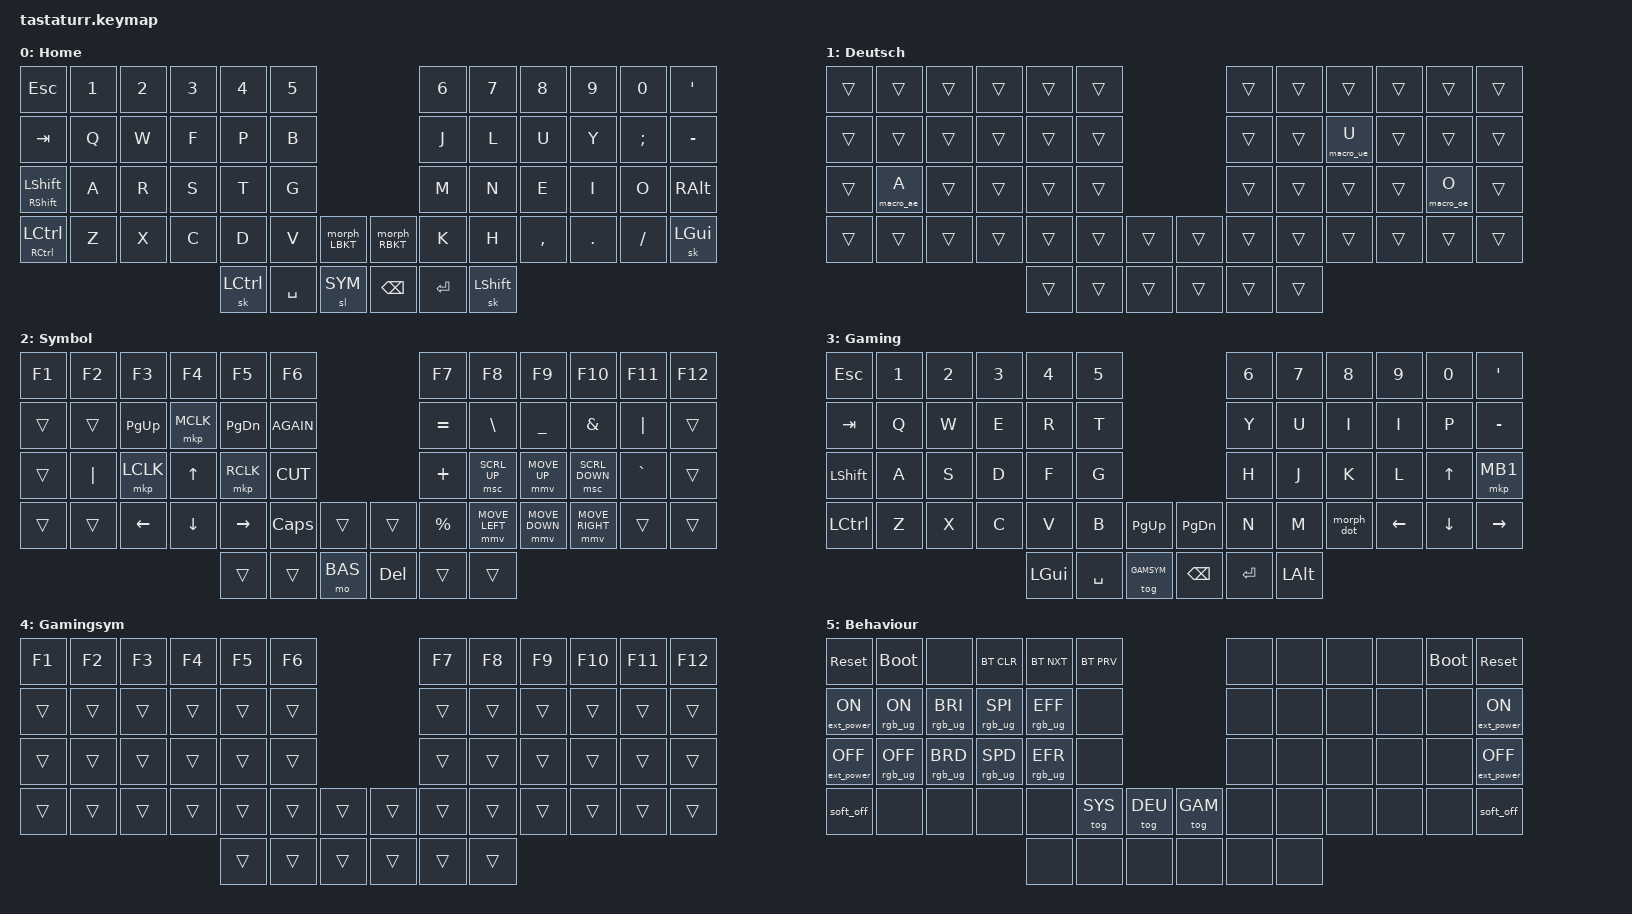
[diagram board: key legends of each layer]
#include <dt-bindings/zmk/mouse.h>
#include <behaviors.dtsi>
#include <dt-bindings/zmk/bt.h>
#include <dt-bindings/zmk/ext_power.h>
#include <dt-bindings/zmk/keys.h>
#include <dt-bindings/zmk/pointing.h>
#include <dt-bindings/zmk/rgb.h>

#define BAS 0
#define DEU 1
#define SYM 2
#define GAM 3
#define GAMSYM 4
#define SYS 5

&sk {
    release-after-ms = <2000>;
    quick-release;

    /delete-property/ ignore-modifiers;
};

&soft_off {
    hold-time-ms = <5000>; // Only turn off it the key is held for 5 seconds or longer.
};

/ {
    combos {
        compatible = "zmk,combos";

        combo_sys {
            timeout-ms = <50>;
            key-positions = <37 38 39 40>;
            bindings = <&tog SYS>;
        };

        combo_sys_right {
            bindings = <&tog 4>;
            key-positions = <45 46 47 48>;
        };
    };
};

/ {
    macros {
        macro_ae: macro_ae {
            compatible = "zmk,behavior-macro";
            #binding-cells = <0>;
            wait-ms = <10>;
            tap-ms = <20>;
            bindings = <&kp RALT &kp Q>;
        };

        macro_ue: macro_ue {
            compatible = "zmk,behavior-macro";
            #binding-cells = <0>;
            wait-ms = <10>;
            tap-ms = <20>;
            bindings = <&kp RALT &kp Y>;
        };

        macro_oe: macro_oe {
            compatible = "zmk,behavior-macro";
            #binding-cells = <0>;
            wait-ms = <10>;
            tap-ms = <20>;
            bindings = <&kp RALT &kp P>;
        };

        macro_wdf: macro_wdf {
            compatible = "zmk,behavior-macro";
            #binding-cells = <0>;
            wait-ms = <10>;
            tap-ms = <20>;
            bindings = <&kp DELETE &kp LEFT_CONTROL>;
        };

        macro_wdr: macro_wdr {
            compatible = "zmk,behavior-macro";
            #binding-cells = <0>;
            wait-ms = <10>;
            tap-ms = <20>;
            bindings = <&kp BACKSPACE &kp LEFT_CONTROL>;
        };
    };

    behaviors {
        morph_LBKTT: morph_LBKTT {
            compatible = "zmk,behavior-mod-morph";
            #binding-cells = <0>;
            bindings = <&kp LPAR>, <&kp LT>;

            mods = <(MOD_LALT|MOD_RALT)>;
        };

        morph_LBKT: morph_LBKT {
            compatible = "zmk,behavior-mod-morph";
            #binding-cells = <0>;
            bindings = <&kp LBKT>, <&morph_LBKTT>;

            mods = <(MOD_LCTL |MOD_RCTL)>;
        };

        morph_RBKTT: morph_RBKTT {
            compatible = "zmk,behavior-mod-morph";
            #binding-cells = <0>;
            bindings = <&kp RPAR>, <&kp GT>;

            mods = <(MOD_LALT|MOD_RALT)>;
        };

        morph_RBKT: morph_RBKT {
            compatible = "zmk,behavior-mod-morph";
            #binding-cells = <0>;
            bindings = <&kp RBKT>, <&morph_RBKTT>;

            mods = <(MOD_LCTL |MOD_RCTL)>;
        };

        morph_BCKSP: morph_BCKSP {
            compatible = "zmk,behavior-mod-morph";
            #binding-cells = <0>;
            bindings = <&kp BACKSPACE>, <&kp DELETE>;

            mods = <(MOD_LSFT | MOD_RSFT)>;
        };

        morph_dot: morph_dot {
            compatible = "zmk,behavior-mod-morph";
            #binding-cells = <0>;
            bindings = <&kp DOT>, <&kp COMMA>;

            mods = <(MOD_LSFT | MOD_RSFT)>;
        };

        ae: ae {
            compatible = "zmk,behavior-hold-tap";
            #binding-cells = <2>;
            flavor = "hold-preferred";
            tapping-term-ms = <150>;
            bindings = <&macro_ae>, <&kp>;
        };

        ue: ue {
            compatible = "zmk,behavior-hold-tap";
            #binding-cells = <2>;
            flavor = "hold-preferred";
            tapping-term-ms = <150>;
            bindings = <&macro_ue>, <&kp>;
        };

        oe: oe {
            compatible = "zmk,behavior-hold-tap";
            #binding-cells = <2>;
            flavor = "hold-preferred";
            tapping-term-ms = <150>;
            bindings = <&macro_oe>, <&kp>;
        };
    };

    keymap {
        compatible = "zmk,keymap";

        Home {
            bindings = <
&kp ESC                         &kp N1  &kp N2  &kp N3  &kp N4     &kp N5                                 &kp N6     &kp N7          &kp N8     &kp N9      &kp N0     &kp APOS
&kp TAB                         &kp Q   &kp W   &kp F   &kp P      &kp B                                  &kp J      &kp L           &kp U      &kp Y       &kp SEMI   &kp MINUS
&mt RIGHT_SHIFT LEFT_SHIFT      &kp A   &kp R   &kp S   &kp T      &kp G                                  &kp M      &kp N           &kp E      &kp I       &kp O      &kp RIGHT_ALT
&mt RIGHT_CONTROL LEFT_CONTROL  &kp Z   &kp X   &kp C   &kp D      &kp V      &morph_LBKT  &morph_RBKT    &kp K      &kp H           &kp COMMA  &kp PERIOD  &kp SLASH  &sk LGUI
                                                        &sk LCTRL  &kp SPACE  &sl SYM      &kp BACKSPACE  &kp ENTER  &sk LEFT_SHIFT
            >;
        };

        Deutsch {
            bindings = <
&trans  &trans   &trans  &trans  &trans  &trans                  &trans  &trans  &trans   &trans  &trans   &trans
&trans  &trans   &trans  &trans  &trans  &trans                  &trans  &trans  &ue 0 U  &trans  &trans   &trans
&trans  &ae 0 A  &trans  &trans  &trans  &trans                  &trans  &trans  &trans   &trans  &oe 0 O  &trans
&trans  &trans   &trans  &trans  &trans  &trans  &trans  &trans  &trans  &trans  &trans   &trans  &trans   &trans
                                 &trans  &trans  &trans  &trans  &trans  &trans
            >;
        };

        Symbol {
            bindings = <
&kp F1  &kp F2    &kp F3          &kp F4          &kp F5           &kp F6                         &kp F7       &kp F8          &kp F9          &kp F10          &kp F11    &kp F12
&trans  &trans    &kp PAGE_UP     &mkp MCLK       &kp PAGE_DOWN    &kp K_AGAIN                    &kp EQUAL    &kp BSLH        &kp UNDER       &kp AMPS         &kp PIPE   &trans
&trans  &kp PIPE  &mkp LCLK       &kp UP_ARROW    &mkp RCLK        &kp K_CUT                      &kp PLUS     &msc SCRL_UP    &mmv MOVE_UP    &msc SCRL_DOWN   &kp GRAVE  &trans
&trans  &trans    &kp LEFT_ARROW  &kp DOWN_ARROW  &kp RIGHT_ARROW  &kp CAPS     &trans   &trans   &kp PERCENT  &mmv MOVE_LEFT  &mmv MOVE_DOWN  &mmv MOVE_RIGHT  &trans     &trans
                                                  &trans           &trans       &mo BAS  &kp DEL  &trans       &trans
            >;
        };

        Gaming {
            bindings = <
&kp ESC           &kp N1  &kp N2  &kp N3  &kp N4    &kp N5                                 &kp N6     &kp N7    &kp N8      &kp N9    &kp N0    &kp APOS
&kp TAB           &kp Q   &kp W   &kp E   &kp R     &kp T                                  &kp Y      &kp U     &kp I       &kp I     &kp P     &kp MINUS
&kp LEFT_SHIFT    &kp A   &kp S   &kp D   &kp F     &kp G                                  &kp H      &kp J     &kp K       &kp L     &kp UP    &mkp MB1
&kp LEFT_CONTROL  &kp Z   &kp X   &kp C   &kp V     &kp B      &kp PG_UP    &kp PG_DN      &kp N      &kp M     &morph_dot  &kp LEFT  &kp DOWN  &kp RIGHT
                                          &kp LGUI  &kp SPACE  &tog GAMSYM  &kp BACKSPACE  &kp ENTER  &kp LALT
            >;
        };

        Gamingsym {
            bindings = <
&kp F1  &kp F2  &kp F3  &kp F4  &kp F5  &kp F6                  &kp F7  &kp F8  &kp F9  &kp F10  &kp F11  &kp F12
&trans  &trans  &trans  &trans  &trans  &trans                  &trans  &trans  &trans  &trans   &trans   &trans
&trans  &trans  &trans  &trans  &trans  &trans                  &trans  &trans  &trans  &trans   &trans   &trans
&trans  &trans  &trans  &trans  &trans  &trans  &trans  &trans  &trans  &trans  &trans  &trans   &trans   &trans
                                &trans  &trans  &trans  &trans  &trans  &trans
            >;
        };

        Behaviour {
            bindings = <
&sys_reset         &bootloader      &none            &bt BT_CLR       &bt BT_NXT       &bt BT_PRV                      &none  &none  &none  &none  &bootloader  &sys_reset
&ext_power EP_ON   &rgb_ug RGB_ON   &rgb_ug RGB_BRI  &rgb_ug RGB_SPI  &rgb_ug RGB_EFF  &none                           &none  &none  &none  &none  &none        &ext_power EP_ON
&ext_power EP_OFF  &rgb_ug RGB_OFF  &rgb_ug RGB_BRD  &rgb_ug RGB_SPD  &rgb_ug RGB_EFR  &none                           &none  &none  &none  &none  &none        &ext_power EP_OFF
&soft_off          &none            &none            &none            &none            &tog SYS    &tog DEU  &tog GAM  &none  &none  &none  &none  &none        &soft_off
                                                                      &none            &none       &none     &none     &none  &none
            >;
        };
    };
};

// Layer 1 Normales Home
// Layer 2 Deutsches Home                   Im Behaviour Layer Enable / Disable
// Layer 3 FN tasten und Symbole            Im Base Layer       Bis nächste Taste und  Permanent
// Layer 5 Behaviour                        Im Base Layer beide Layer Gleichzeitig Bis nächste Taste
// Layer 4 Gaming                           Im Behaviour Layer Enable / Disable
